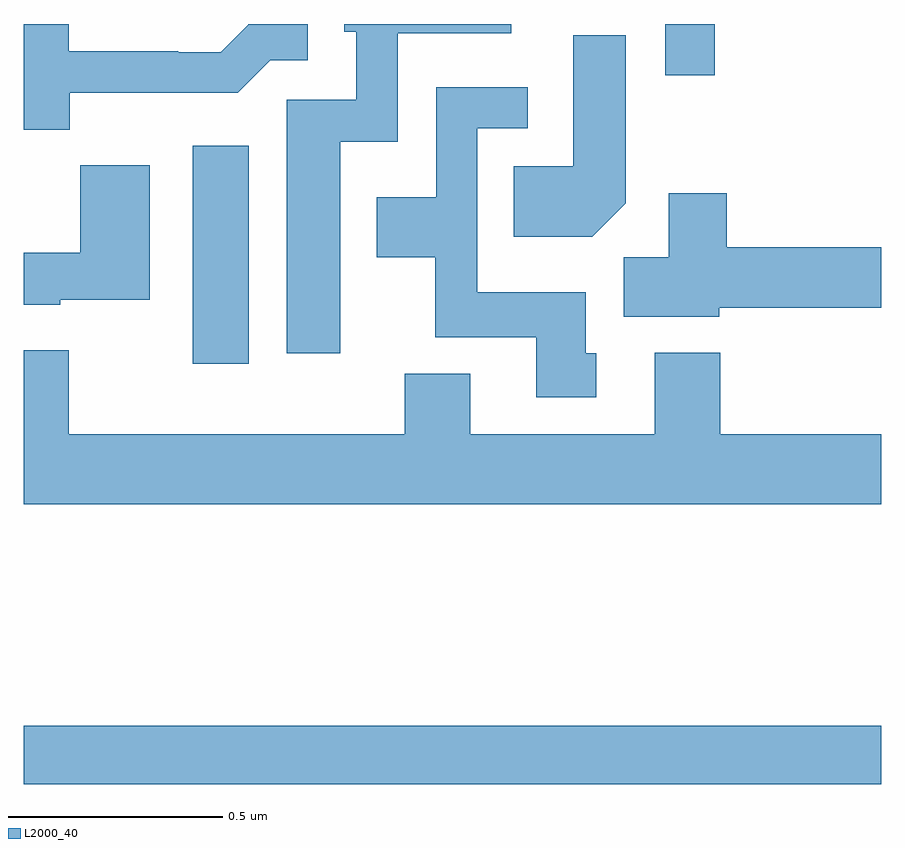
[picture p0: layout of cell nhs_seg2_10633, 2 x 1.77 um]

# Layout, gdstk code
import gdstk
lib = gdstk.Library(unit=1e-6, precision=1e-09)
def R(c, l, rs):  # rectangles x0, y0, x1, y1
    for r in rs: c.add(gdstk.rectangle(r[:2], r[2:], *l))
def P(c, l, *ps):  # polygons
    for p in ps: c.add(gdstk.Polygon(p, *l))
L2000_40 = (2000, 40)

nhs_seg2_10633 = lib.new_cell('nhs_seg2_10633')
R(nhs_seg2_10633, L2000_40, [(244,603.028,246,603.164), (244.394,604.008,244.525,604.516), (245.496,604.68,245.612,604.8)])
P(nhs_seg2_10633, L2000_40, [(244.738,604.526),(244.872,604.526),(244.872,604.778),(245.137,604.778),(245.137,604.8),(244.748,604.8),(244.748,604.782),(244.776,604.782),(244.776,604.623),(244.613,604.623),(244.613,604.032),(244.738,604.032)],
  [(244.108,604.64),(244.499,604.64),(244.575,604.716),(244.663,604.716),(244.663,604.8),(244.524,604.8),(244.524,604.798),(244.46,604.734),(244.361,604.734),(244.361,604.737),(244.105,604.737),(244.105,604.8),(244,604.8),(244,604.553),(244.108,604.553)],
  [(245.404,604.382),(245.404,604.774),(245.282,604.774),(245.282,604.468),(245.143,604.468),(245.143,604.304),(245.326,604.304)],
  [(245.335,604.032),(245.311,604.032),(245.311,604.174),(245.058,604.174),(245.058,604.557),(245.176,604.557),(245.176,604.653),(244.962,604.653),(244.962,604.396),(244.823,604.396),(244.823,604.256),(244.96,604.256),(244.96,604.07),(245.195,604.07),(245.195,603.93),(245.335,603.93)],
  [(244.086,604.157),(244.294,604.157),(244.294,604.471),(244.132,604.471),(244.132,604.267),(244,604.267),(244,604.145),(244.086,604.145)],
  [(245.622,604.138),(246,604.138),(246,604.28),(245.639,604.28),(245.639,604.405),(245.504,604.405),(245.504,604.256),(245.399,604.256),(245.399,604.118),(245.622,604.118)],
  [(246,603.844),(245.624,603.844),(245.624,604.033),(245.471,604.033),(245.471,603.844),(245.041,603.844),(245.041,603.985),(244.889,603.985),(244.889,603.844),(244.105,603.844),(244.105,604.039),(244,604.039),(244,603.68),(246,603.68)])

lib.write_gds('nhs_seg2_10633.gds')
